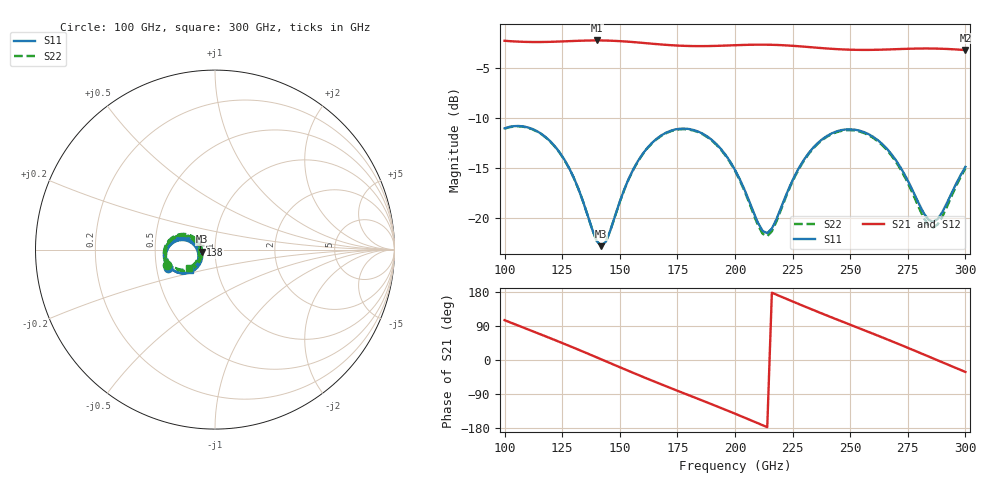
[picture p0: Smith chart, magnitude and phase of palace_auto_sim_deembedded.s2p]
! Created with skrf 1.11.0 (http://scikit-rf.org).
# GHz S DB R 50.0
!freq dBS11 angS11 dBS21 angS21 dBS12 angS12 dBS22 angS22
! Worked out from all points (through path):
!   101 points, 100 GHz to 300 GHz, reference 50 ohm
!   highest |S21| = -2.29 dB at 140 GHz (marker M1); lowest = -3.2 dB at 300 GHz (marker M2)
!   group delay of S21, straight-line fit = 6.9 ps
!   lowest |S11| = -22.8 dB at 142 GHz (marker M3), VSWR 1.16, Z = 43.3 - j0.979 ohm
!   |S11| at or under -10 dB: start of sweep to end of sweep
!   |S22| runs from -22.8 to -10.8 dB; largest |S21 - S12| = 8.8e-14
!   S11 on the Smith chart (normalised r, x): 100 GHz: 0.58, -0.13; 138 GHz: 0.84, +0.04; 300 GHz: 0.74, -0.18
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100  -11.04 -158.9  -2.32 105.1  -2.32 105.1  -11.08 -161.6
108  -10.85 -173.9  -2.42 85.9  -2.42 85.9  -10.89 -176.8
116  -11.60 171.7  -2.44 66.8  -2.44 66.8  -11.64 168.6
126  -14.18 156.5  -2.37 42.4  -2.37 42.4  -14.22 153.2
134  -18.30 153.8  -2.31 22.2  -2.31 22.2  -18.32 150.3
138  -21.11 163.7  -2.29 12.0  -2.29 12.0  -21.11 160.1
140  -22.30 174.5  -2.29 6.8  -2.29 6.8  -22.29 170.8
142  -22.79 -171.1  -2.29 1.7  -2.29 1.7  -22.78 -175.0
154  -16.01 -134.9  -2.42 -29.3  -2.42 -29.3  -16.05 -139.2
168  -11.75 -153.0  -2.69 -64.2  -2.69 -64.2  -11.80 -157.7
184  -11.37 179.6  -2.85 -102.6  -2.85 -102.6  -11.43 174.4
200  -15.18 158.6  -2.76 -141.7  -2.76 -141.7  -15.28 152.7
210  -20.48 171.1  -2.71 -167.0  -2.71 -167.0  -20.72 164.9
214  -21.49 -167.3  -2.71 -177.3  -2.71 -177.3  -21.79 -172.9
224  -16.71 -137.0  -2.80 157.0  -2.80 157.0  -16.84 -142.2
234  -12.96 -144.3  -2.98 131.9  -2.98 131.9  -13.04 -150.1
250  -11.14 -168.9  -3.21 93.1  -3.21 93.1  -11.23 -175.5
258  -11.63 178.6  -3.23 74.0  -3.23 74.0  -11.73 171.6
268  -13.65 165.7  -3.17 49.6  -3.17 49.6  -13.79 158.0
278  -17.67 165.1  -3.10 24.6  -3.10 24.6  -18.00 156.7
286  -20.37 -167.7  -3.09 4.2  -3.09 4.2  -20.95 -174.3
300  -14.89 -139.9  -3.25 -31.5  -3.25 -31.5  -15.06 -145.6
